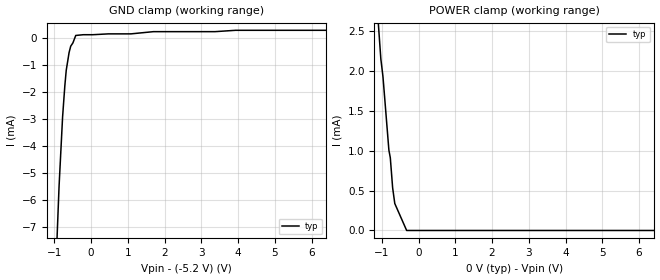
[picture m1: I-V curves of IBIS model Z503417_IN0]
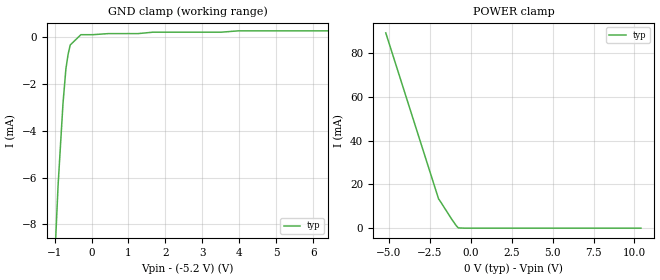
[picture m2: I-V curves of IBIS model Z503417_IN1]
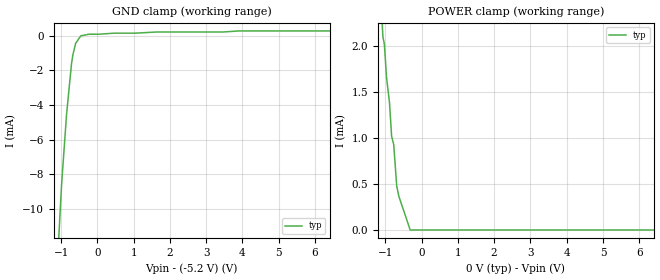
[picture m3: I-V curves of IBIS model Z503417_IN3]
| YOU ARE ONLY AUTHORIZED TO USE THIS SOFTWARE
| ACCORDING TO LICENSOR'S LICENSE RESTRICTIONS.
[IBIS Ver] 3.1
[File Name] mc10e195fn.ibs
[File Rev] 2.0
[Source] Measured and created by ICX Technology
[Date] Friday 7/14/00 9:07:49 AM
[Copyright]
| (C) COPYRIGHT 1993-2000
| MENTOR GRAPHICS CORPORATION
| ICX STANDARD LIBRARY, ICX PROJECT MODELING,
| ICX CUSTOM MODELING, ICX VENDOR MODEL
| ALL RIGHTS RESERVED.
| THE FOLLOWING ARE TRADEMARKS OR SERVICE MARKS OF
| MENTOR GRAPHICS CORPORATION:ICX (R), ICX STANDARD
| LIBRARY(R), ICX PROJECT MODELING(R), ICX CUSTOM
| MODELING(R), qualityIBIS(TM), MODELVIEWER(TM),
| AND MODELEDITOR(TM)
| ALL COPIES OF SOFTWARE, INCLUDING BUT NOT LIMITED TO
| ANY MODIFICATIONS, ENHANCEMENTS OR DERIVATIVE WORKS,
| MUST CONTAIN ALL MENTOR GRAPHICS CORPORATION'S
| NOTICES AND LEGENDS, INCLUDING THOSE EMBEDDED IN
| SOFTWARE AND THOSE AFFIXED TO SOFTWARE MEDIUM
| AND CONTAINER, AS RECEIVED FROM MENTOR GRAPHICS
| CORPORATION.
|  ZAP Model Builder 2.7
[Component] MC10E195FN
[Manufacturer] OnSemiconductor
[Package]
| variable   typ   min   max
R_pkg  .083ohms NA NA
L_pkg  4.299nH NA NA
C_pkg  1.045pF NA NA
[Pin] signal_name  model_name  R_pin  L_pin C_pin
1 VEE POWER .08 3.94n .925p
2 IN Z503417_IN0 .082 4.14n .995p
3 _IN Z503417_IN1 .084 4.354n 1.065p
4 VBB POWER .086 4.583n 1.135p
5 NC NC .086 4.583n 1.135p
6 NC NC .084 4.354n 1.065p
7 _EN Z503417_IN2 .082 4.14n .995p
8 SET_MIN Z503417_IN3 .08 3.94n .925p
9 SET_MAX Z503417_IN4 .082 4.14n .995p
10 CASCADE Z503417_OUT0 .084 4.354n 1.065p
11 _CASCADE Z503417_OUT1 .086 4.583n 1.135p
12 VCCO POWER .086 4.583n 1.135p
13 _Q Z503417_OUT2 .084 4.354n 1.065p
14 Q Z503417_OUT3 .082 4.14n .995p
15 VCCO POWER .08 3.94n .925p
16 VCC POWER .082 4.14n .995p
17 NC NC .084 4.354n 1.065p
18 NC NC .086 4.583n 1.135p
19 NC NC .086 4.583n 1.135p
20 D7 Z503417_IN5 .084 4.354n 1.065p
21 D6 Z503417_IN5 .082 4.14n .995p
22 D5 Z503417_IN5 .08 3.94n .925p
23 D4 Z503417_IN5 .082 4.14n .995p
24 D3 Z503417_IN5 .084 4.354n 1.065p
25 D2 Z503417_IN5 .086 4.583n 1.135p
26 D1 Z503417_IN5 .086 4.583n 1.135p
27 D0 Z503417_IN5 .084 4.354n 1.065p
28 LEN Z503417_IN6 .082 4.14n .995p
| Models and submodels in the file (11): Z503417_IN0 (Input_ECL), Z503417_IN1 (Input_ECL), Z503417_IN2 (Input_ECL), Z503417_IN3 (Input_ECL), Z503417_IN4 (Input_ECL), Z503417_IN5 (Input_ECL), Z503417_IN6 (Input_ECL), Z503417_OUT0 (Output_ECL), Z503417_OUT1 (Output_ECL), Z503417_OUT2 (Output_ECL), Z503417_OUT3 (Output_ECL)
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| (C) COPYRIGHT 1993-2000
| MENTOR GRAPHICS CORPORATION
| ICX STANDARD LIBRARY, ICX PROJECT MODELING,
| ICX CUSTOM MODELING, ICX VENDOR MODEL
| ALL RIGHTS RESERVED.
| THE FOLLOWING ARE TRADEMARKS OR SERVICE MARKS OF
| MENTOR GRAPHICS CORPORATION:ICX (R), ICX STANDARD
| LIBRARY(R), ICX PROJECT MODELING(R), ICX CUSTOM
| MODELING(R), qualityIBIS(TM), MODELVIEWER(TM),
| AND MODELEDITOR(TM)
| ALL COPIES OF SOFTWARE, INCLUDING BUT NOT LIMITED TO
| ANY MODIFICATIONS, ENHANCEMENTS OR DERIVATIVE WORKS,
| MUST CONTAIN ALL MENTOR GRAPHICS CORPORATION'S
| NOTICES AND LEGENDS, INCLUDING THOSE EMBEDDED IN
| SOFTWARE AND THOSE AFFIXED TO SOFTWARE MEDIUM
| AND CONTAINER, AS RECEIVED FROM MENTOR GRAPHICS
| CORPORATION.
| Model Application Version 1.89 2/18/99.
[Model] Z503417_IN0
Model_type Input_ECL
Vinl = -1.480V
Vinh = -1.130V
C_comp 4.000pF NA NA
| variable typ   min   max
[Voltage Range] -5.200V NA NA
[GND Clamp Reference] -5.200V NA NA
[POWER Clamp Reference] 0.000V NA NA
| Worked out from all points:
|   GND clamp passes 1 mA (typ) near -0.65 V on its own axis
|   POWER clamp passes 1 mA (typ) near -0.80 V on its own axis
[GND Clamp]
-5.2V     -339.7mA   NA         NA
-1.006V   -10.26mA   NA         NA
-869mV    -5.495mA   NA         NA
-773mV    -2.927mA   NA         NA
-713mV    -1.792mA   NA         NA
-674mV    -1.204mA   NA         NA
-596mV    -543.7uA   NA         NA
-552mV    -311.1uA   NA         NA
-493mV    -192uA     NA         NA
-415mV    85.45uA    NA         NA
3.934V    276.4uA    NA         NA
10.4V     276.4uA    NA         NA
[POWER Clamp]
-5.2V     14.19mA    NA         NA
-1.142V   2.91mA     NA         NA
-1.025V   2.148mA    NA         NA
-966.8mV  1.925mA    NA         NA
-805.8mV  1.006mA    NA         NA
-767.3mV  910.6uA    NA         NA
-703.9mV  534.2uA    NA         NA
-645.4mV  337.2uA    NA         NA
-322.7mV  0A         NA         NA
10.4V     0A         NA         NA
| (C) COPYRIGHT 1993-2000
| MENTOR GRAPHICS CORPORATION
| ICX STANDARD LIBRARY, ICX PROJECT MODELING,
| ICX CUSTOM MODELING, ICX VENDOR MODEL
| ALL RIGHTS RESERVED.
| THE FOLLOWING ARE TRADEMARKS OR SERVICE MARKS OF
| MENTOR GRAPHICS CORPORATION:ICX (R), ICX STANDARD
| LIBRARY(R), ICX PROJECT MODELING(R), ICX CUSTOM
| MODELING(R), qualityIBIS(TM), MODELVIEWER(TM),
| AND MODELEDITOR(TM)
| ALL COPIES OF SOFTWARE, INCLUDING BUT NOT LIMITED TO
| ANY MODIFICATIONS, ENHANCEMENTS OR DERIVATIVE WORKS,
| MUST CONTAIN ALL MENTOR GRAPHICS CORPORATION'S
| NOTICES AND LEGENDS, INCLUDING THOSE EMBEDDED IN
| SOFTWARE AND THOSE AFFIXED TO SOFTWARE MEDIUM
| AND CONTAINER, AS RECEIVED FROM MENTOR GRAPHICS
| CORPORATION.
| Model Application Version 1.89 2/18/99.
[Model] Z503417_IN1
Model_type Input_ECL
Vinl = -1.480V
Vinh = -1.130V
C_comp 4.000pF NA NA
| variable typ   min   max
[Voltage Range] -5.200V NA NA
[GND Clamp Reference] -5.200V NA NA
[POWER Clamp Reference] 0.000V NA NA
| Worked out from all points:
|   GND clamp passes 1 mA (typ) near -0.66 V on its own axis
|   POWER clamp passes 1 mA (typ) near -0.87 V on its own axis
[GND Clamp]
-5.2V     -350mA     NA         NA
-1.006V   -9.888mA   NA         NA
-906mV    -6.349mA   NA         NA
-772mV    -2.823mA   NA         NA
-694mV    -1.352mA   NA         NA
-635mV    -729.7uA   NA         NA
-576mV    -324.2uA   NA         NA
-288mV    114.7uA    NA         NA
1.66V     221.2uA    NA         NA
3.509V    221.2uA    NA         NA
3.971V    279.1uA    NA         NA
10.4V     279.1uA    NA         NA
[POWER Clamp]
-5.2V     89.22mA    NA         NA
-1.967V   13.24mA    NA         NA
-1.948V   13.15mA    NA         NA
-1.769V   11.11mA    NA         NA
-1.163V   4.007mA    NA         NA
-903.4mV  1.258mA    NA         NA
-768.7mV  119.5uA    NA         NA
-384.4mV  0A         NA         NA
10.4V     0A         NA         NA
| (C) COPYRIGHT 1993-2000
| MENTOR GRAPHICS CORPORATION
| ICX STANDARD LIBRARY, ICX PROJECT MODELING,
| ICX CUSTOM MODELING, ICX VENDOR MODEL
| ALL RIGHTS RESERVED.
| THE FOLLOWING ARE TRADEMARKS OR SERVICE MARKS OF
| MENTOR GRAPHICS CORPORATION:ICX (R), ICX STANDARD
| LIBRARY(R), ICX PROJECT MODELING(R), ICX CUSTOM
| MODELING(R), qualityIBIS(TM), MODELVIEWER(TM),
| AND MODELEDITOR(TM)
| ALL COPIES OF SOFTWARE, INCLUDING BUT NOT LIMITED TO
| ANY MODIFICATIONS, ENHANCEMENTS OR DERIVATIVE WORKS,
| MUST CONTAIN ALL MENTOR GRAPHICS CORPORATION'S
| NOTICES AND LEGENDS, INCLUDING THOSE EMBEDDED IN
| SOFTWARE AND THOSE AFFIXED TO SOFTWARE MEDIUM
| AND CONTAINER, AS RECEIVED FROM MENTOR GRAPHICS
| CORPORATION.
| Model Application Version 1.89 2/18/99.
[Model] Z503417_IN3
Model_type Input_ECL
Vinl = -1.480V
Vinh = -1.130V
C_comp 4.000pF NA NA
| variable typ   min   max
[Voltage Range] -5.200V NA NA
[GND Clamp Reference] -5.200V NA NA
[POWER Clamp Reference] 0.000V NA NA
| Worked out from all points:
|   GND clamp passes 1 mA (typ) near -0.66 V on its own axis
|   POWER clamp passes 1 mA (typ) near -0.81 V on its own axis
[GND Clamp]
-5.2V     -313.5mA   NA         NA
-1.118V   -13.81mA   NA         NA
-987mV    -8.642mA   NA         NA
-850mV    -4.565mA   NA         NA
-713mV    -1.639mA   NA         NA
-674mV    -1.094mA   NA         NA
-596mV    -436.9uA   NA         NA
-454mV    -6.906uA   NA         NA
-227mV    81.68uA    NA         NA
460mV     143.6uA    NA         NA
3.915V    273uA      NA         NA
10.4V     273uA      NA         NA
[POWER Clamp]
-5.2V     44.17mA    NA         NA
-1.204V   3.046mA    NA         NA
-1.064V   2.095mA    NA         NA
-1.025V   2.02mA     NA         NA
-966.8mV  1.662mA    NA         NA
-883.8mV  1.386mA    NA         NA
-825.2mV  1.019mA    NA         NA
-766.9mV  927uA      NA         NA
-684mV    475.7uA    NA         NA
-625.9mV  366.1uA    NA         NA
-312.9mV  0A         NA         NA
10.4V     0A         NA         NA
